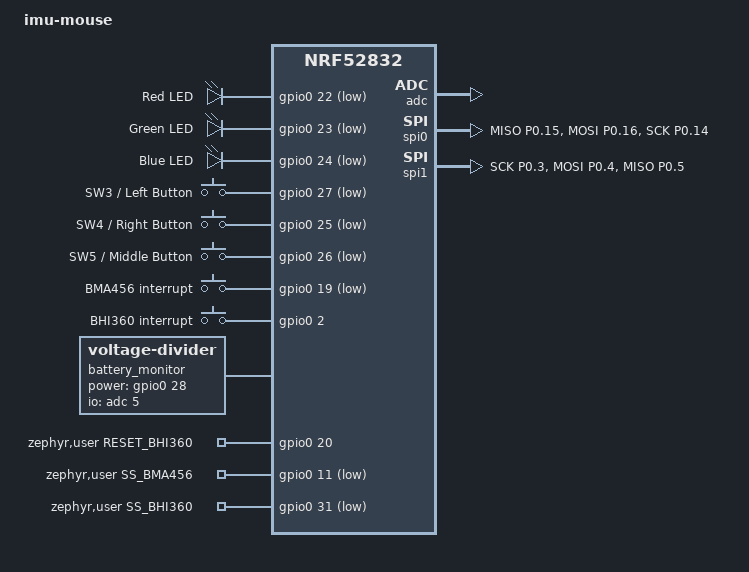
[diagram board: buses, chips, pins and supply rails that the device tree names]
// Copyright (c) 2024 Nordic Semiconductor ASA
// SPDX-License-Identifier: Apache-2.0

/dts-v1/;
#include <nordic/nrf52832_ciaa.dtsi>

#include <zephyr/dt-bindings/input/input-event-codes.h>

// ANNA-B112 module, GPIO pin numbers on p.19-20 of datasheet

/ {
	model = "imu-mouse";
	compatible = "lassiheikkila,imu-mouse";

	chosen {
		zephyr,sram = &sram0;
		zephyr,flash = &flash0;
		zephyr,code-partition = &slot0_partition;
	};

	leds {
		compatible = "gpio-leds";

		// RED, GPIO36 i.e. p0.22
		led_r: led_r {
			gpios = <&gpio0 22 GPIO_ACTIVE_LOW>;
			label = "Red LED";
		};

		// GREEN, GPIO37 i.e. p0.23
		led_g: led_g {
			gpios = <&gpio0 23 GPIO_ACTIVE_LOW>;
			label = "Green LED";
		};

		// BLUE, GPIO38 i.e. p0.24
		led_b: led_b {
			gpios = <&gpio0 24 GPIO_ACTIVE_LOW>;
			label = "Blue LED";
		};
	};

	buttons {
		compatible = "gpio-keys";

		// SW3, GPIO29 i.e. p0.27
		button1: button1 {
			gpios = <&gpio0 27 GPIO_ACTIVE_LOW>;
			zephyr,code = <INPUT_BTN_0>;
			label = "SW3 / Left Button";
		};

		// SW4, GPIO30 i.e. p0.25
		button2: button2 {
			gpios = <&gpio0 25 GPIO_ACTIVE_LOW>;
			zephyr,code = <INPUT_BTN_1>;
			label = "SW4 / Right Button";
		};

		// SW5, GPIO31 i.e. p0.26
		button3: button3 {
			gpios = <&gpio0 26 GPIO_ACTIVE_LOW>;
			zephyr,code = <INPUT_BTN_2>;
			label = "SW5 / Middle Button";
		};

		int_bma456: int_bma456 {
			gpios = <&gpio0 19 GPIO_ACTIVE_LOW>;
			label = "BMA456 interrupt";
		};

		int_bhi360: int_bhi360 {
			gpios = <&gpio0 2 GPIO_ACTIVE_HIGH>;
			label = "BHI360 interrupt";
		};

	};


	battery_monitor: vbatt {
		compatible = "voltage-divider";
		io-channels = <&adc 5>;
		output-ohms = <220000>; // 220k
		full-ohms = <1720000>; // 1.5M + 220k = 1.72M
		power-gpios = <&gpio0 28 0>;
	};

	zephyr,user {
		// INT_BMA456-gpios = <&gpio0 19 GPIO_ACTIVE_LOW>;
		// INT_BHI360-gpios = <&gpio0 2 0>;
		RESET_BHI360-gpios = <&gpio0 20 0>;
		SS_BMA456-gpios = <&gpio0 11 GPIO_ACTIVE_LOW>;
		SS_BHI360-gpios = <&gpio0 31 GPIO_ACTIVE_LOW>;
	};

	aliases {
		ledr = &led_r;
		ledg = &led_g;
		ledb = &led_b;
		button1 = &button1;
		button2 = &button2;
		button3 = &button3;
		sw3 = &button1;
		sw4 = &button2;
		sw5 = &button3;
		intbma456 = &int_bma456;
		intbhi360 = &int_bhi360;
		resetbhi360 = &reset_bhi360;
	};
};

&gpiote {
	status = "okay";
};

&gpio0 {
	status = "okay";
};

&pinctrl {


	spi0_default: spi0_default {
		group1 {
			psels = <NRF_PSEL(SPIM_MISO, 0, 15)>,
				<NRF_PSEL(SPIM_MOSI, 0, 16)>,
				<NRF_PSEL(SPIM_SCK, 0, 14)>;
		};
	};

	spi1_default: spi1_default {
		group1 {
			psels = <NRF_PSEL(SPIM_SCK, 0, 3)>,
				<NRF_PSEL(SPIM_MOSI, 0, 4)>,
				<NRF_PSEL(SPIM_MISO, 0, 5)>;
		};
	};
};

&flash0 {
	partitions {
		compatible = "fixed-partitions";
		#address-cells = <1>;
		#size-cells = <1>;

		boot_partition: partition@0 {
			label = "mcuboot";
			reg = <0x0 0xc000>;
		};
		slot0_partition: partition@c000 {
			label = "image-0";
			reg = <0xc000 0x12000>;
		};
		slot1_partition: partition@1e000 {
			label = "image-1";
			reg = <0x1e000 0x12000>;
		};
		scratch_partition: partition@30000 {
			label = "image-scratch";
			reg = <0x30000 0xa000>;
		};
		storage_partition: partition@3a000 {
			label = "storage";
			reg = <0x3a000 0x6000>;
		};
	};
};

&adc {
	status = "okay";
};

spi0: &spi0 {
	status = "okay";
	pinctrl-0 = <&spi0_default>;
	pinctrl-names = "default";
	compatible = "nordic,nrf-spim";
	max-frequency = <DT_FREQ_M(8)>;
};

spi1: &spi1 {
	status = "okay";
	pinctrl-0 = <&spi1_default>;
	pinctrl-names = "default";
	compatible = "nordic,nrf-spim";
};

&wdt {
	status = "disabled";
};

&rng {
	status = "disabled";
};

&ecb {
	status = "disabled";
};

&ccm {
	status = "disabled";
};

&bprot {
	status = "disabled";
};

&nfct {
	status = "disabled";
};
